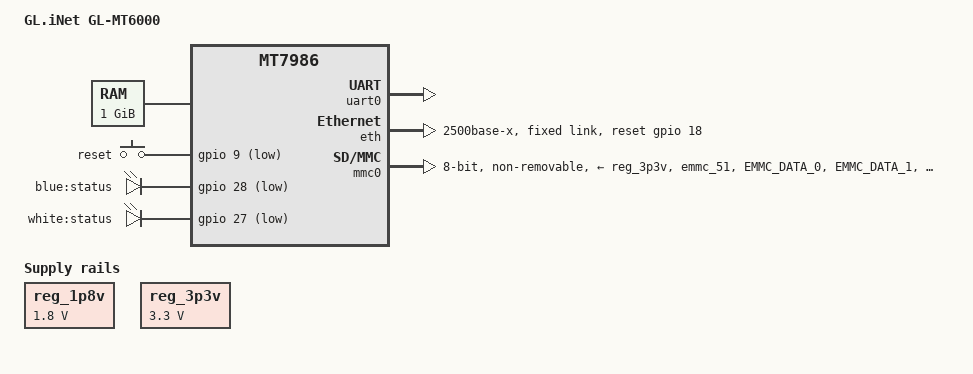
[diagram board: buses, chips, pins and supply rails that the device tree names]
// SPDX-License-Identifier: GPL-2.0

/dts-v1/;
#include <dt-bindings/input/linux-event-codes.h>
#include <dt-bindings/gpio/gpio.h>

#include "mt7986.dtsi"

/ {
	model = "GL.iNet GL-MT6000";
	compatible = "glinet,gl-mt6000", "mediatek,mt7986-emmc-rfb", "mediatek,mt7986";

	chosen {
		stdout-path = &uart0;
		tick-timer = &timer0;
	};

	memory@40000000 {
		device_type = "memory";
		reg = <0x40000000 0x40000000>;
	};

    reg_1p8v: regulator-1p8v {
		compatible = "regulator-fixed";
		regulator-name = "fixed-1.8V";
		regulator-min-microvolt = <1800000>;
		regulator-max-microvolt = <1800000>;
		regulator-boot-on;
		regulator-always-on;
	};

	reg_3p3v: regulator-3p3v {
		compatible = "regulator-fixed";
		regulator-name = "fixed-3.3V";
		regulator-min-microvolt = <3300000>;
		regulator-max-microvolt = <3300000>;
		regulator-boot-on;
		regulator-always-on;
	};

	keys {
		compatible = "gpio-keys";

		wps {
			label = "reset";
			gpios = <&gpio 9 GPIO_ACTIVE_LOW>;
			linux,code = <KEY_RESTART>;
		};
	};

	leds {
		compatible = "gpio-leds";

		led_status_blue: green {
			label = "blue:status";
			gpios = <&gpio 28 GPIO_ACTIVE_LOW>;
		};

		led_status_white: blue {
			label = "white:status";
			gpios = <&gpio 27 GPIO_ACTIVE_LOW>;
		};
	};

};

&uart0 {
	mediatek,force-highspeed;
	status = "okay";
};

&eth {
	status = "okay";
	mediatek,gmac-id = <0>;
	phy-mode = "2500base-x";
	mediatek,switch = "mt7531";
	reset-gpios = <&gpio 18 GPIO_ACTIVE_HIGH>;

	fixed-link {
		speed = <2500>;
		full-duplex;
	};
};

&pinctrl {
	mmc0_pins_default: mmc0default {
		mux {
			function = "flash";
			groups =  "emmc_51";
		};

		conf-cmd-dat {
			pins = "EMMC_DATA_0", "EMMC_DATA_1", "EMMC_DATA_2",
			       "EMMC_DATA_3", "EMMC_DATA_4", "EMMC_DATA_5",
			       "EMMC_DATA_6", "EMMC_DATA_7", "EMMC_CMD";
			input-enable;
			drive-strength = <MTK_DRIVE_4mA>;
			bias-pull-up = <MTK_PUPD_SET_R1R0_01>;
		};

		conf-clk {
			pins = "EMMC_CK";
			drive-strength = <MTK_DRIVE_6mA>;
			bias-pull-down = <MTK_PUPD_SET_R1R0_10>;
		};

		conf-dsl {
			pins = "EMMC_DSL";
			bias-pull-down = <MTK_PUPD_SET_R1R0_10>;
		};

		conf-rst {
			pins = "EMMC_RSTB";
			drive-strength = <MTK_DRIVE_4mA>;
			bias-pull-up = <MTK_PUPD_SET_R1R0_01>;
		};
	};
};

&mmc0 {
	pinctrl-names = "default";
	pinctrl-0 = <&mmc0_pins_default>;
	bus-width = <8>;
	max-frequency = <200000000>;
	cap-mmc-highspeed;
	cap-mmc-hw-reset;
	vmmc-supply = <&reg_3p3v>;
	vqmmc-supply = <&reg_1p8v>;
	non-removable;
	status = "okay";
};

&wmcpu_emi {
	status = "disabled";
};
